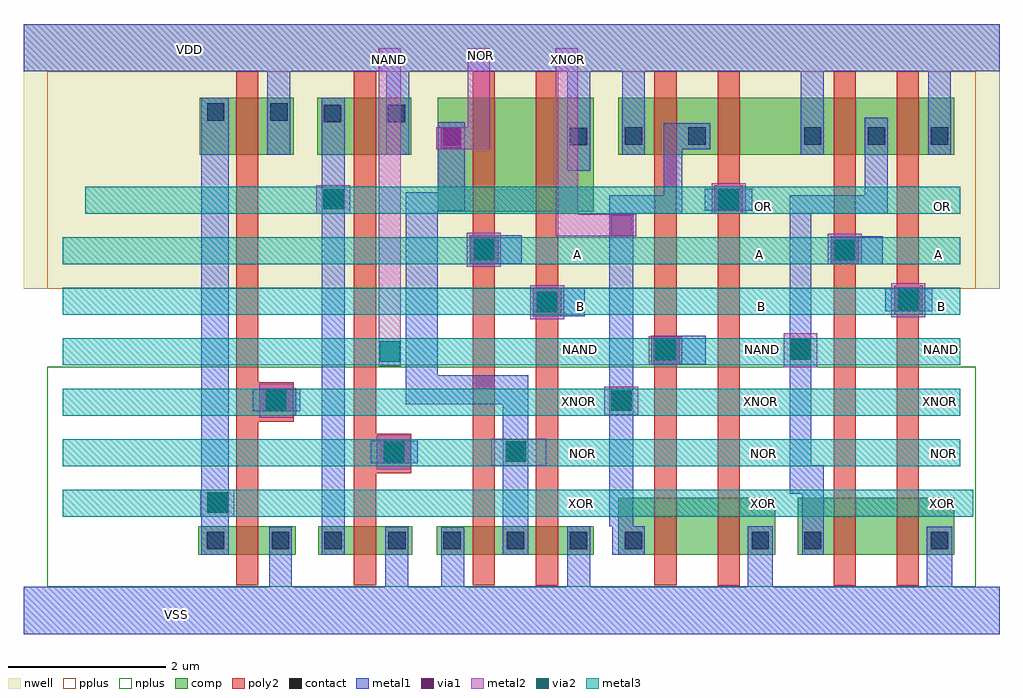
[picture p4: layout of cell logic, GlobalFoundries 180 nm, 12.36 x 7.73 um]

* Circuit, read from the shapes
.subckt logic A B NAND NOR OR VDD VSS XNOR XOR
XM1 VSS XNOR XOR VSUBS nfet_03v3 w=0.36u l=0.28u
XM2 VSS NOR OR VSUBS nfet_03v3 w=0.36u l=0.28u
XM3 NOR A VSS VSUBS nfet_03v3 w=0.36u l=0.28u
XM4 VSS B NOR VSUBS nfet_03v3 w=0.36u l=0.28u
XM5 n1 NAND XNOR VSUBS nfet_03v3 w=0.72u l=0.28u
XM6 VSS OR n1 VSUBS nfet_03v3 w=0.72u l=0.28u
XM7 n2 A NAND VSUBS nfet_03v3 w=0.72u l=0.28u
XM8 VSS B n2 VSUBS nfet_03v3 w=0.72u l=0.28u
XM9 VDD XNOR XOR n3 pfet_03v3 w=0.72u l=0.28u
XM10 VDD NOR OR n3 pfet_03v3 w=0.72u l=0.28u
XM11 n4 A NOR n3 pfet_03v3 w=1.44u l=0.28u
XM12 VDD B n4 n3 pfet_03v3 w=1.44u l=0.28u
XM13 XNOR NAND VDD n3 pfet_03v3 w=0.72u l=0.28u
XM14 VDD OR XNOR n3 pfet_03v3 w=0.72u l=0.28u
XM15 NAND A VDD n3 pfet_03v3 w=0.72u l=0.28u
XM16 VDD B NAND n3 pfet_03v3 w=0.72u l=0.28u
.ends

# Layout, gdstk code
import gdstk
lib = gdstk.Library(unit=1e-6, precision=5e-09)
def R(c, l, rs):  # rectangles x0, y0, x1, y1
    for r in rs: c.add(gdstk.rectangle(r[:2], r[2:], *l))
nwell = (21, 0)
comp = (22, 0)
poly2 = (30, 0)
pplus = (31, 0)
nplus = (32, 0)
contact = (33, 0)
metal1 = (34, 0)
via1 = (35, 0)
metal2 = (36, 0)
via2 = (38, 0)
metal3 = (42, 0)

logic = lib.new_cell('logic')
R(logic, nwell, [(0,4.075,12.36,7.425)])
R(logic, comp, [(2.21,0.705,3.45,1.065), (3.73,0.705,4.92,1.065), (5.235,0.705,7.22,1.065), (7.535,0.705,9.52,1.425), (9.805,0.705,11.79,1.425), (5.245,5.05,7.22,6.49), (2.235,5.77,3.425,6.49), (3.72,5.77,4.91,6.49), (7.535,5.77,9.805,6.49), (9.805,5.77,11.79,6.49)])
R(logic, poly2, [(6.49,0.31,6.77,6.825), (8.79,0.31,9.07,6.825), (10.26,0.31,10.54,6.825), (11.06,0.31,11.34,6.825), (2.695,0.315,2.975,6.825), (4.185,0.315,4.465,6.825), (5.69,0.315,5.97,6.825), (7.99,0.315,8.27,6.825), (4.465,1.735,4.91,2.235), (2.975,2.39,3.42,2.89), (3.01,2.47,3.455,2.815), (7.95,3.115,8.31,3.475), (6.45,3.725,6.81,4.085), (11.025,3.75,11.385,4.11), (11.025,3.75,11.385,4.11), (10.22,4.38,10.58,4.74), (5.65,4.39,6.01,4.75), (8.75,5.02,9.11,5.38)])
R(logic, pplus, [(0.3,4.075,12.06,6.825)])
R(logic, nplus, [(0.3,0.3,12.06,3.085)])
R(logic, contact, [(2.32,0.775,2.54,0.995), (3.145,0.775,3.365,0.995), (3.81,0.775,4.03,0.995), (4.62,0.775,4.84,0.995), (5.315,0.775,5.535,0.995), (6.12,0.775,6.34,0.995), (6.92,0.775,7.14,0.995), (7.615,0.775,7.835,0.995), (9.22,0.775,9.44,0.995), (9.885,0.775,10.105,0.995), (11.49,0.775,11.71,0.995), (4.58,1.895,4.8,2.115), (4.58,1.895,4.8,2.115), (3.09,2.55,3.31,2.77), (3.09,2.55,3.31,2.77), (8.02,3.185,8.24,3.405), (6.52,3.795,6.74,4.015), (11.095,3.82,11.315,4.04), (11.095,3.82,11.315,4.04), (10.29,4.45,10.51,4.67), (5.72,4.46,5.94,4.68), (8.82,5.09,9.04,5.31), (5.315,5.89,5.535,6.11), (6.92,5.89,7.14,6.11), (7.615,5.895,7.835,6.115), (8.42,5.895,8.64,6.115), (9.885,5.895,10.105,6.115), (10.69,5.895,10.91,6.115), (11.49,5.895,11.71,6.115), (3.805,6.18,4.025,6.4), (4.615,6.18,4.835,6.4), (2.325,6.2,2.545,6.42), (3.125,6.2,3.345,6.42)])
R(logic, metal1, [(0,-0.3,12.36,0.3), (3.11,0.3,3.4,1.06), (4.58,0.3,4.87,1.06), (5.29,0.3,5.58,1.055), (6.885,0.3,7.175,1.065), (9.17,0.3,9.49,1.065), (11.44,0.3,11.76,1.06), (2.25,0.705,2.6,6.49), (3.78,0.705,4.07,6.49), (6.07,0.705,6.395,2.975), (7.455,0.705,7.865,1.065), (9.86,0.705,10.135,1.835), (7.42,1.065,7.72,5.255), (9.705,1.475,9.975,5.255), (9.725,1.475,10.135,1.835), (4.395,1.865,4.995,2.145), (4.395,1.865,4.995,2.145), (2.905,2.52,3.505,2.8), (2.905,2.52,3.505,2.8), (4.84,2.61,5.245,5.295), (5.245,2.61,6.395,2.975), (7.98,3.115,8.64,3.475), (6.45,3.725,7.11,4.085), (10.91,3.79,11.51,4.07), (10.91,3.79,11.51,4.07), (10.22,4.38,10.88,4.74), (5.65,4.39,6.31,4.75), (7.455,5.025,8.34,5.255), (8.11,5.025,8.34,5.92), (9.725,5.025,10.945,5.255), (10.655,5.03,10.945,6.235), (4.84,5.06,5.585,5.295), (8.63,5.06,9.23,5.34), (5.245,5.295,5.585,5.86), (6.885,5.565,7.175,6.825), (3.085,5.77,3.375,6.825), (4.595,5.77,4.885,6.825), (7.58,5.77,7.87,6.825), (9.845,5.77,10.135,6.905), (11.455,5.77,11.745,6.91), (8.11,5.84,8.7,6.17), (5.245,5.86,5.585,6.18), (0,6.825,12.36,7.425)])
R(logic, via1, [(2.325,1.235,2.585,1.495), (4.56,1.875,4.82,2.135), (4.56,1.875,4.82,2.135), (6.105,1.88,6.365,2.14), (7.44,2.525,7.7,2.785), (3.07,2.53,3.33,2.79), (3.07,2.53,3.33,2.79), (8,3.165,8.26,3.425), (9.71,3.17,9.97,3.43), (6.5,3.775,6.76,4.035), (11.075,3.8,11.335,4.06), (11.075,3.8,11.335,4.06), (10.27,4.43,10.53,4.69), (5.7,4.44,5.96,4.7), (7.44,4.745,7.7,5.005), (8.8,5.07,9.06,5.33), (3.795,5.08,4.055,5.34), (5.285,5.85,5.545,6.11)])
R(logic, metal2, [(2.24,1.185,2.67,1.525), (4.475,1.785,4.905,2.215), (4.475,1.785,4.905,2.215), (5.925,1.83,6.62,2.175), (2.985,2.44,3.415,2.87), (2.985,2.44,3.415,2.87), (7.355,2.47,7.785,2.83), (9.625,3.08,10.055,3.51), (7.915,3.11,8.345,3.47), (6.415,3.685,6.845,4.115), (10.99,3.71,11.42,4.14), (10.99,3.71,11.42,4.14), (5.615,4.35,6.045,4.78), (10.185,4.385,10.615,4.77), (3.71,5.025,4.14,5.385), (8.715,5.025,9.145,5.41)])
R(logic, via2, [(2.325,1.235,2.585,1.495), (4.56,1.875,4.82,2.135), (4.56,1.875,4.82,2.135), (6.105,1.88,6.365,2.14), (7.44,2.525,7.7,2.785), (3.07,2.53,3.33,2.79), (3.07,2.53,3.33,2.79), (4.51,3.15,4.77,3.41), (8,3.165,8.26,3.425), (9.71,3.17,9.97,3.43), (6.5,3.775,6.76,4.035), (11.075,3.8,11.335,4.06), (11.075,3.8,11.335,4.06), (10.27,4.43,10.53,4.69), (5.7,4.44,5.96,4.7), (8.8,5.07,9.06,5.33), (3.795,5.08,4.055,5.34)])
logic.add(gdstk.FlexPath([(4.64,3.28),(4.64,7.115)], 0.28, ends=(0.19, 0), simple_path=True, layer=36, datatype=0))  # metal2
logic.add(gdstk.FlexPath([(5.415,5.98),(5.765,5.98),(5.765,7.115)], 0.28, ends=(0.19, 0), simple_path=True, layer=36, datatype=0))  # metal2
logic.add(gdstk.FlexPath([(7.57,4.875),(6.88,4.875),(6.88,7.115)], 0.28, ends=(0.19, 0), simple_path=True, layer=36, datatype=0))  # metal2
logic.add(gdstk.FlexPath([(11.84,1.355),(11.84,1.355)], 0.26, ends="extended", simple_path=True, layer=38, datatype=0))  # via2
logic.add(gdstk.FlexPath([(0.78,5.195),(11.86,5.195)], 0.34, ends="flush", simple_path=True, layer=42, datatype=0))  # metal3
logic.add(gdstk.FlexPath([(0.5,1.355),(11.84,1.355)], 0.34, ends=(0, 0.19), simple_path=True, layer=42, datatype=0))  # metal3
logic.add(gdstk.FlexPath([(0.5,1.995),(11.86,1.995)], 0.34, ends="flush", simple_path=True, layer=42, datatype=0))  # metal3
logic.add(gdstk.FlexPath([(0.5,2.635),(11.86,2.635)], 0.34, ends="flush", simple_path=True, layer=42, datatype=0))  # metal3
logic.add(gdstk.FlexPath([(0.5,3.275),(11.86,3.275)], 0.34, ends="flush", simple_path=True, layer=42, datatype=0))  # metal3
logic.add(gdstk.FlexPath([(0.5,3.915),(11.86,3.915)], 0.34, ends="flush", simple_path=True, layer=42, datatype=0))  # metal3
logic.add(gdstk.FlexPath([(0.5,4.555),(11.86,4.555)], 0.34, ends="flush", simple_path=True, layer=42, datatype=0))  # metal3
logic.add(gdstk.Label('OR', (11.635,5.115), layer=42, texttype=10))
logic.add(gdstk.Label('A', (11.59,4.5), layer=42, texttype=10))
logic.add(gdstk.Label('NAND', (11.63,3.3), layer=42, texttype=10))
logic.add(gdstk.Label('XNOR', (11.6,2.64), layer=42, texttype=10))
logic.add(gdstk.Label('NOR', (11.645,1.99), layer=42, texttype=10))
logic.add(gdstk.Label('XOR', (11.635,1.35), layer=42, texttype=10))
logic.add(gdstk.Label('OR', (9.365,5.115), layer=42, texttype=10))
logic.add(gdstk.Label('A', (9.32,4.5), layer=42, texttype=10))
logic.add(gdstk.Label('B', (9.35,3.85), layer=42, texttype=10))
logic.add(gdstk.Label('NAND', (9.36,3.3), layer=42, texttype=10))
logic.add(gdstk.Label('XNOR', (9.33,2.64), layer=42, texttype=10))
logic.add(gdstk.Label('NOR', (9.375,1.99), layer=42, texttype=10))
logic.add(gdstk.Label('XOR', (9.365,1.35), layer=42, texttype=10))
logic.add(gdstk.Label('A', (7.02,4.5), layer=42, texttype=10))
logic.add(gdstk.Label('B', (7.05,3.85), layer=42, texttype=10))
logic.add(gdstk.Label('NAND', (7.06,3.3), layer=42, texttype=10))
logic.add(gdstk.Label('XNOR', (7.03,2.64), layer=42, texttype=10))
logic.add(gdstk.Label('NOR', (7.075,1.99), layer=42, texttype=10))
logic.add(gdstk.Label('XOR', (7.065,1.35), layer=42, texttype=10))
logic.add(gdstk.Label('B', (11.62,3.85), layer=42, texttype=10))
logic.add(gdstk.Label('VDD', (2.105,7.1), layer=34, texttype=10))
logic.add(gdstk.Label('VSS', (1.935,-0.05), layer=34, texttype=10))
logic.add(gdstk.Label('NAND', (4.64,6.97), layer=36, texttype=10))
logic.add(gdstk.Label('NOR', (5.79,7.02), layer=36, texttype=10))
logic.add(gdstk.Label('XNOR', (6.89,6.97), layer=36, texttype=10))

lib.write_gds('logic.gds')
